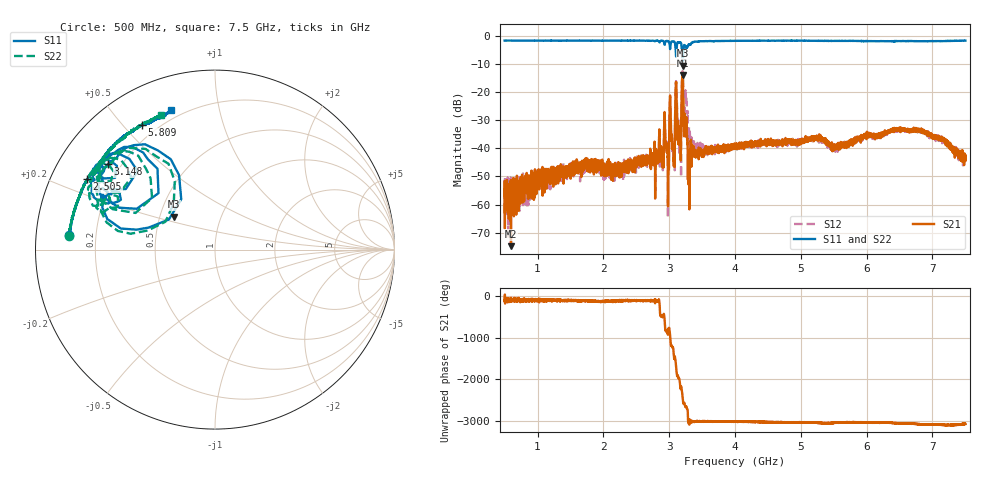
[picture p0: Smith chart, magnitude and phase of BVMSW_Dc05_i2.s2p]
!Keysight Technologies,M9374A,MY55442783,A.12.55.05
!Date: Thursday, May 20, 2021 18:46:40
!Correction: S11(Full 2 Port(1,2))
!S21(Full 2 Port(1,2))
!S12(Full 2 Port(1,2))
!S22(Full 2 Port(1,2))
!S2P File: Measurements: S11, S21, S12, S22:
# Hz S  RI  R 50
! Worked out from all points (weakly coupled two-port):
!   7001 points, 500 MHz to 7.5 GHz, reference 50 ohm
!   highest |S21| = -14.01 dB at 3.203 GHz (marker M1); lowest = -74.8 dB at 597 MHz (marker M2)
!   lowest |S11| = -10.7 dB at 3.203 GHz (marker M3), VSWR 1.83, Z = 29.6 + j11.9 ohm
!   |S11| at or under -10 dB: 3.200814 GHz to 3.205455 GHz (4.641 MHz wide, 0.145 % of centre)
!   |S22| runs from -10.3 to -1.7 dB; largest |S21 - S12| = 0.12
!   S11 on the Smith chart (normalised r, x): 500 MHz: 0.10, +0.05; 2.505 GHz: 0.11, +0.25; 3.148 GHz: 0.15, +0.34; 5.809 GHz: 0.14, +0.56; 7.5 GHz: 0.16, +0.72
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5e8  -0.8113 0.0809  -0.000237 -0.00168  -0.00056 -0.0027  -0.8144 0.0752
5.38e8  -0.8125 0.0877  0.000898 -0.00106  -0.000683 -0.00163  -0.8113 0.0813
5.97e8  -0.8116 0.0962  0.000126 -0.000131  -0.000931 -0.000692  -0.812 0.0893
1.667e9  -0.7691 0.2585  -0.00247 -0.00406  -0.00208 -0.00464  -0.776 0.2433
2.505e9  -0.7134 0.3928  -0.00313 -0.00393  -0.0018 -0.0046  -0.7252 0.371
2.834e9  -0.6554 0.4667  -0.00228 -0.00678  -0.0033 -0.00592  -0.6702 0.4478
2.943e9  -0.652 0.4306  -0.00289 -0.0137  -0.0014 -0.0137  -0.6708 0.4074
2.969e9  -0.6319 0.4972  -0.00624 -0.0056  -0.00635 -0.00489  -0.6545 0.4686
3.032e9  -0.6431 0.424  -0.00464 -0.0149  -0.00474 -0.014  -0.6582 0.4071
3.057e9  -0.6067 0.5078  -0.011 -0.00436  -0.00856 -0.003  -0.6248 0.4848
3.12e9  -0.6397 0.308  -0.0165 -0.0347  -0.0187 -0.0381  -0.6539 0.2978
3.148e9  -0.5977 0.4761  -0.0152 -0.00324  -0.0148 0.00368  -0.611 0.46
3.203e9  -0.2281 0.1838  -0.0658 0.1882  -0.1033 0.2084  -0.2375 0.1913
3.231e9  -0.5995 0.3079  0.0249 -0.0224  -0.0201 -0.0318  -0.6012 0.2941
3.278e9  -0.5842 0.2649  -0.0122 0.00291  -0.0311 -0.0302  -0.5857 0.2397
3.316e9  -0.623 0.3045  -0.00105 -0.0091  -0.00238 -0.0163  -0.6366 0.2657
4e9  -0.6225 0.5103  -0.00757 -0.0091  -0.00714 -0.00887  -0.6436 0.48
5.167e9  -0.49 0.6452  -0.0127 -0.00762  -0.0134 -0.00723  -0.5367 0.6035
5.809e9  -0.406 0.6926  -0.0105 -0.00696  -0.0104 -0.00736  -0.477 0.6537
6.334e9  -0.3538 0.7138  -0.0175 -0.00702  -0.0174 -0.00715  -0.4209 0.6893
6.861e9  -0.2999 0.7356  -0.018 0.00614  -0.0201 0.00554  -0.3632 0.7187
7.5e9  -0.2441 0.7753  -0.00597 0.000828  -0.00688 0.000271  -0.2989 0.7498
